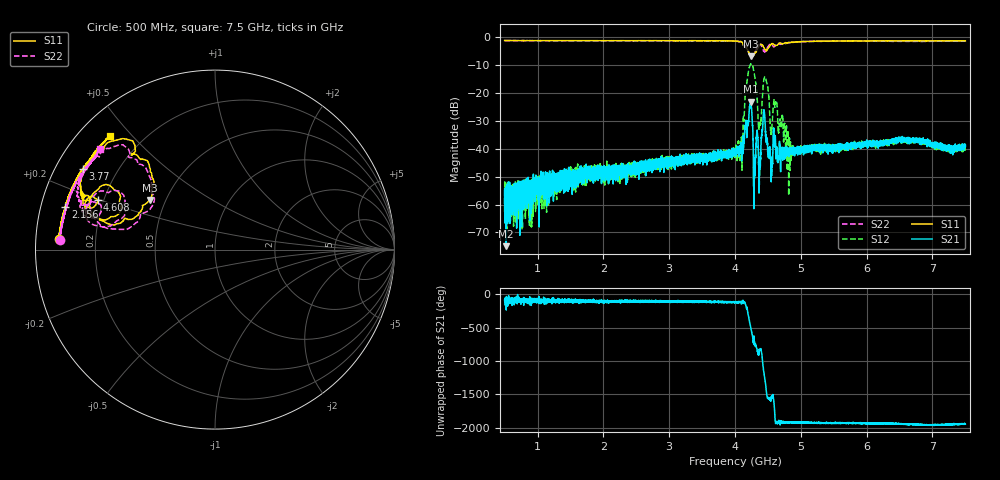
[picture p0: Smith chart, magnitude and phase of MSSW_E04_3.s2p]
!Keysight Technologies,M9374A,MY55442783,A.12.55.05
!Date: Wednesday, May 19, 2021 18:25:41
!Correction: S11(Full 2 Port(1,2))
!S21(Full 2 Port(1,2))
!S12(Full 2 Port(1,2))
!S22(Full 2 Port(1,2))
!S2P File: Measurements: S11, S21, S12, S22:
# Hz S  RI  R 50
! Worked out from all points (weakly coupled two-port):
!   7001 points, 500 MHz to 7.5 GHz, reference 50 ohm
!   highest |S21| = -23.16 dB at 4.238 GHz (marker M1); lowest = -74.9 dB at 525 MHz (marker M2)
!   lowest |S11| = -6.8 dB at 4.246 GHz (marker M3), VSWR 2.68, Z = 20.4 + j14.3 ohm
!   |S11| at or under -10 dB: nowhere
!   |S22| runs from -7.4 to -1.2 dB; largest |S21 - S12| = 0.3
!   S11 on the Smith chart (normalised r, x): 500 MHz: 0.07, +0.03; 2.156 GHz: 0.07, +0.14; 3.77 GHz: 0.08, +0.28; 4.608 GHz: 0.18, +0.20; 7.5 GHz: 0.09, +0.43
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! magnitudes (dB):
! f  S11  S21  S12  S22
! 500 MHz  -1.2  -54.4  -62.6  -1.2
! 525 MHz  -1.2  -74.9  -57.5  -1.2
! 1.667 GHz  -1.2  -49.2  -49.4  -1.3
! 2.156 GHz  -1.2  -50.0  -49.7  -1.3
! 2.834 GHz  -1.3  -45.1  -44.7  -1.3
! 3.77 GHz  -1.3  -42.4  -41.6  -1.4
! 4 GHz  -1.4  -41.7  -42.2  -1.5
! 4.09 GHz  -1.5  -38.7  -37.6  -1.6
! 4.179 GHz  -3.9  -36.0  -16.3  -3.9
! 4.238 GHz  -6.6  -23.2  -9.6  -6.9
! 4.246 GHz  -6.8  -24.2  -9.6  -7.4
! 4.292 GHz  -6.2  -47.8  -12.8  -6.0
! 4.374 GHz  -2.7  -47.0  -31.2  -2.6
! 4.426 GHz  -3.2  -29.3  -18.2  -4.3
! 4.459 GHz  -4.5  -31.2  -14.4  -5.1
! 4.547 GHz  -2.6  -47.9  -34.8  -2.5
! 4.608 GHz  -3.0  -35.2  -24.3  -3.2
! 4.675 GHz  -2.1  -38.2  -30.7  -2.4
! 4.846 GHz  -1.9  -41.2  -40.1  -1.9
! 5.167 GHz  -1.5  -40.2  -40.4  -1.5
! 6.334 GHz  -1.3  -37.2  -38.4  -1.4
! 7.5 GHz  -1.3  -39.0  -38.8  -1.4
